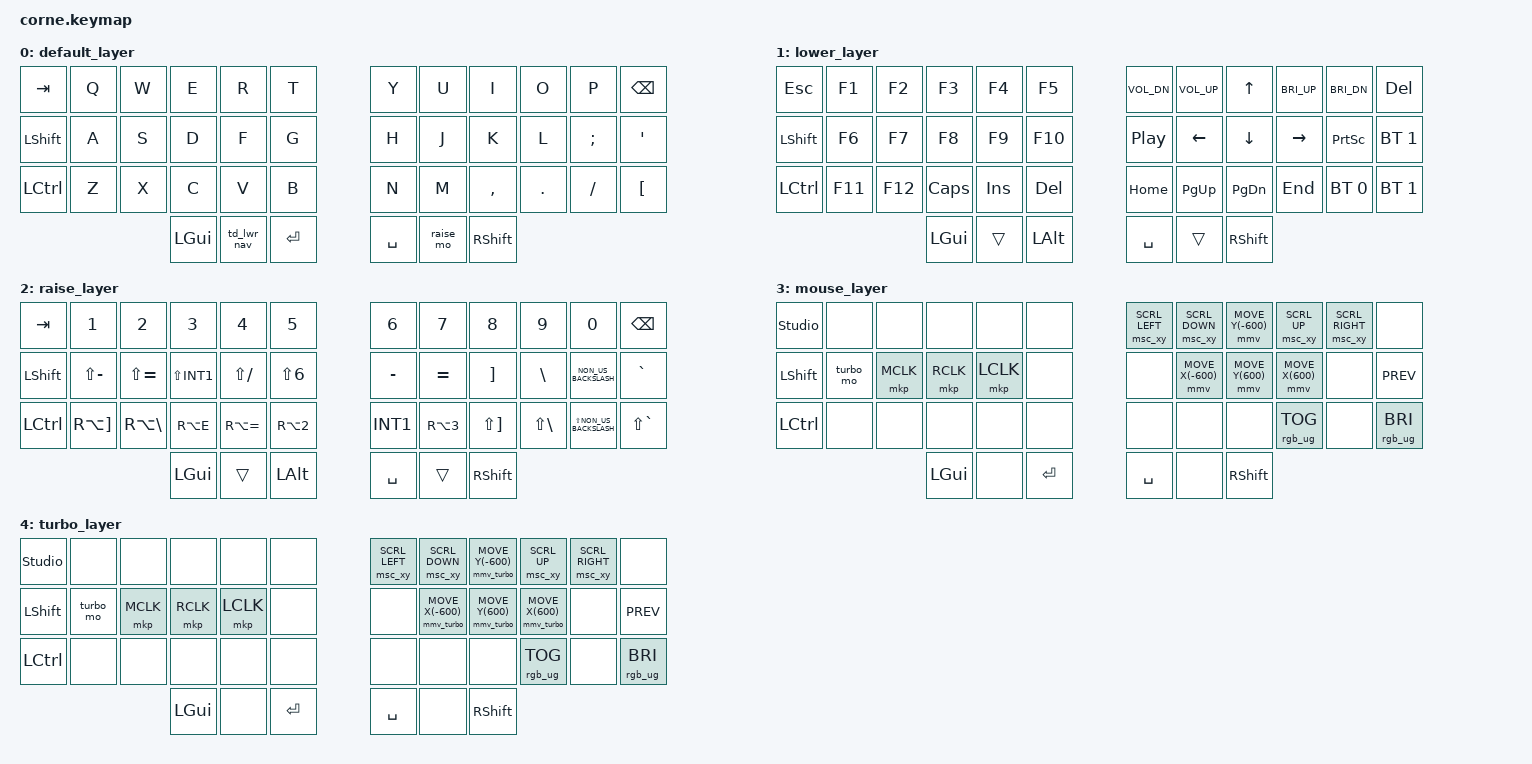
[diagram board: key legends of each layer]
/*
 * Copyright (c) 2020 The ZMK Contributors
 *
 * SPDX-License-Identifier: MIT
 */

#include <behaviors.dtsi>
#include <dt-bindings/zmk/keys.h>
#include <dt-bindings/zmk/bt.h>
#include <dt-bindings/zmk/rgb.h>
#include <dt-bindings/zmk/pointing.h>
/* behaviors.dtsi traz behaviors/mouse_keys.dtsi (&mmv, &msc, mmv_input_listener),
 * mas NAO traz os input processors -- zip_xy_scaler e' declarado em
 * input/processors.dtsi e precisa deste include separado. Sem ele o &zip_xy_scaler
 * la' embaixo referencia um label inexistente e o devicetree nao compila. */
#include <input/processors.dtsi>

&led_strip {
    chain-length = <27>;
};

/* Cursor com inercia: o toque curto anda pouco (precisao pra acertar alvo pequeno)
 * e a velocidade cresce ate' o maximo se a tecla ficar segurada.
 *
 * A rampa so' existe com os DOIS valores diferentes de zero: em
 * behavior_input_two_axis.c:115 a velocidade e' clampada no maximo quando
 * time-to-max-speed-ms == 0 OU acceleration-exponent == 0. A config antiga
 * zerava os dois, dai' o cursor sair em velocidade cheia no primeiro tick.
 *
 * Ajuste fino: subir time-to-max-speed-ms alonga a rampa; expoente 2 (quadratico)
 * deixa o inicio ainda mais lento, pra alvo bem pequeno. 300/1 e' o default do ZMK.
 *
 * 2026-09-02: rampa encurtada de 300ms para 150ms a pedido do Davi -- o toque curto
 * continua andando pouco, mas a velocidade cheia chega na metade do tempo. Se ainda
 * parecer arrastado, o proximo passo e' 100ms; zerar volta ao comportamento antigo
 * (velocidade maxima ja' no primeiro tick, sem precisao nenhuma). */
&mmv {
    time-to-max-speed-ms = <150>;
    acceleration-exponent = <1>;
};

/* Scroll: sai de uma instancia de movimento (&msc_xy, eixos X/Y) convertida em
 * roda pelo zip_xy_to_scroll_mapper. Rampa igual a' do cursor (2026-10-21, a
 * pedido do Davi; antes era instantaneo). Segurar A (camada 4) multiplica por 8
 * inclusive no meio de uma rolagem ja' em curso, com o mesmo zip_xy_scaler do
 * cursor. O caminho direto (override de camada no &msc_input_listener com
 * zip_scroll_scaler) derrubava o boot da esquerda na v0.3, mesmo com pilhas
 * dobradas, sem causa encontrada no codigo: nao voltar a ele. */
/ {
        behaviors {
                msc_xy: msc_xy {
                        compatible = "zmk,behavior-input-two-axis";
                        #binding-cells = <1>;
                        x-input-code = <INPUT_REL_X>;
                        y-input-code = <INPUT_REL_Y>;
                        time-to-max-speed-ms = <150>;
                        acceleration-exponent = <1>;
                };
        };

        msc_xy_listener: msc_xy_listener {
                compatible = "zmk,input-listener";
                device = <&msc_xy>;
                input-processors = <&zip_xy_to_scroll_mapper>;
                turbo {
                        layers = <4>;
                        input-processors = <&zip_xy_scaler 8 1>, <&zip_xy_to_scroll_mapper>;
                };
        };
};


/* Turbo acionado NO MEIO de um movimento ja' em curso: o binding em voo continua
 * sendo o &mmv (o ZMK resolve o binding no press e a camada nao troca o que ja'
 * esta' rodando), entao o boost precisa continuar vindo do input processor. */
&mmv_input_listener {
    turbo {
        layers = <4>;
        input-processors = <&zip_xy_scaler 5 2>;
    };
};

/ {
        /* Instancia separada do movimento, SEM rampa, usada so' pelas teclas da
         * camada 4 (turbo). A rampa e' propriedade da instancia do comportamento,
         * nao da camada, entao turbo e cursor normal precisam de nos diferentes --
         * um input processor multiplica a saida, mas nao desfaz a aceleracao.
         * Listener proprio porque cada zmk,input-listener escuta um unico device;
         * o scaler 5/2 aqui nao precisa de filtro de camada, ja' que este device
         * so' emite quando uma tecla da camada 4 e' pressionada. */
        mmv_turbo_listener: mmv_turbo_listener {
                compatible = "zmk,input-listener";
                device = <&mmv_turbo>;
                input-processors = <&zip_xy_scaler 5 2>;
        };

        behaviors {
                mmv_turbo: mmv_turbo {
                        compatible = "zmk,behavior-input-two-axis";
                        #binding-cells = <1>;
                        x-input-code = <INPUT_REL_X>;
                        y-input-code = <INPUT_REL_Y>;
                        time-to-max-speed-ms = <0>;
                        acceleration-exponent = <0>;
                };

                // Tap-dance no polegar Lower (esquerdo):
                // 1 toque/hold = Lower (L1)
                // 2 toques e SEGURA = Navegação (L3) momentâneo (libera ao soltar o switch)
                td_lwr_nav: td_lwr_nav {
                        compatible = "zmk,behavior-tap-dance";
                        #binding-cells = <0>;
                        tapping-term-ms = <200>;
                        bindings = <&lower_mo>, <&mo 3>;
                };
        };

        macros {
                // Emite F13 ao entrar na lower (layer 1) e F14 ao sair.
                // O overlay escuta esses sinais via evdev para funcionar por BT.
                lower_mo: lower_mo {
                        compatible = "zmk,behavior-macro";
                        #binding-cells = <0>;
                        bindings = <&macro_press &mo 1>
                                 , <&macro_tap &kp F13>
                                 , <&macro_pause_for_release>
                                 , <&macro_release &mo 1>
                                 , <&macro_tap &kp F14>
                                 ;
                };
                raise_mo: raise_mo {
                        compatible = "zmk,behavior-macro";
                        #binding-cells = <0>;
                        bindings = <&macro_press &mo 2>
                                 , <&macro_tap &kp F15>
                                 , <&macro_pause_for_release>
                                 , <&macro_release &mo 2>
                                 , <&macro_tap &kp F16>
                                 ;
                };

                // Turbo momentaneo da tecla A (camadas de mouse), montado
                // com &tog em vez de &mo.
                turbo_mo: turbo_mo {
                        compatible = "zmk,behavior-macro";
                        #binding-cells = <0>;
                        bindings = <&macro_tap &tog 4>
                                 , <&macro_pause_for_release>
                                 , <&macro_tap &tog 4>
                                 ;
                };
        };

        keymap {
                compatible = "zmk,keymap";

                /* As legendas dos diagramas assumem xkb layout "br" (ABNT2) no host:
                 * SEMI=ç  SQT=~^(dead)  LBKT=´`(dead)  RBKT=[{  BSLH=]}
                 * NON_US_BACKSLASH=\|  INT1=/?  FSLH=;:  LS(N6)=¨(dead)
                 * F13-F16 sao reservados pra sinalizacao do overlay (lower_mo/raise_mo). */

                default_layer {
// -----------------------------------------------------------------------------------------
// |  TAB |  Q  |  W  |  E  |  R  |  T  |   |  Y  |  U   |  I  |  O  |  P  | BSPC |
// | SHFT |  A  |  S  |  D  |  F  |  G  |   |  H  |  J   |  K  |  L  |  Ç  | ~ ^  |
// | CTRL |  Z  |  X  |  C  |  V  |  B  |   |  N  |  M   |  ,  |  .  | ; : | ´ `  |
//                    | GUI | LWR | ENT |   | SPC | RSE  | SHFT|
// Acentos como no ABNT2: ~ (shift ^) ao lado do Ç e ´ (shift `) logo abaixo.
// Esc mora na lower (Lower+Tab). Polegar direito e' Shift: AltGr saiu, os
// simbolos de AltGr que importam estao prontos na raise (RA embutido).
// Shift na home row e Ctrl embaixo: era assim que o aparelho estava (edicao antiga
// no Studio, lida no dump de 2026-09-02) e e' o mesmo arranjo das outras camadas.
                        bindings = <
   &kp TAB   &kp Q &kp W &kp E &kp R &kp T   &kp Y &kp U  &kp I     &kp O   &kp P    &kp BSPC
   &kp LSHFT &kp A &kp S &kp D &kp F &kp G   &kp H &kp J  &kp K     &kp L   &kp SEMI &kp SQT
   &kp LCTRL &kp Z &kp X &kp C &kp V &kp B   &kp N &kp M  &kp COMMA &kp DOT &kp FSLH &kp LBKT
                  &kp LGUI &td_lwr_nav &kp RET     &kp SPACE &raise_mo &kp RSHFT
                        >;
                };

                lower_layer {
// -----------------------------------------------------------------------------------------
// |  ESC |  F1 |  F2 |  F3 |  F4 |  F5 |   | VDN | VUP |  UP | SUN+| SUN-| DEL  |
// | SHFT |  F6 |  F7 |  F8 |  F9 | F10 |   | PLAY| LFT | DWN | RGT | PRSC| BT1  |
// | CTRL | F11 | F12 | CAPS| INS | DEL |   | HOME| PGUP| PGDN| END | BT0 | BT1  |
//                    | GUI |     | ALT |   | SPC |     | SHFT|
// As tres teclas &bt vieram do dump do aparelho (2026-09-02): so' existiam na NVS,
// gravadas pelo Studio, e por isso nunca estiveram neste arquivo. Repare que duas
// delas selecionam o MESMO perfil (BT_SEL 1) -- preservado como estava; se foi
// engano, o candidato natural para a de cima e' &bt BT_CLR ou outro perfil.
                        bindings = <
   &kp ESC    &kp F1  &kp F2  &kp F3  &kp F4  &kp F5    &kp C_VOL_DN  &kp C_VOL_UP  &kp UP    &kp C_BRI_UP  &kp C_BRI_DN  &kp DEL
   &kp LSHFT  &kp F6  &kp F7  &kp F8  &kp F9  &kp F10   &kp C_PP      &kp LEFT      &kp DOWN  &kp RIGHT     &kp PRINTSCREEN &bt BT_SEL 1
   &kp LCTRL  &kp F11 &kp F12 &kp CAPS &kp INS &kp DEL   &kp HOME      &kp PG_UP     &kp PG_DN &kp END       &bt BT_SEL 0  &bt BT_SEL 1
                              &kp LGUI &trans &kp LALT  &kp SPACE     &trans        &kp RSHFT
                        >;
                };

                raise_layer {
// -----------------------------------------------------------------------------------------
// |  TAB |  1  |  2  |  3  |  4  |  5  |   |  6  |  7  |  8  |  9  |  0  | BSPC |
// | SHFT |  _  |  +  |  ?  |  :  |  ¨  |   |  -  |  =  |  [  |  ]  |  \  |  '   |
// | CTRL |  ª  |  º  |  °  |  §  |  ²  |   |  /  |  ³  |  {  |  }  |  |  |  "   |
//                    | GUI |     | ALT |   | SPC |     | SHFT|
// ! @ # $ % & * ( ) saem no shift dos numeros, como num teclado normal.
// ª º ° § ² ³ levam AltGr (RA) embutido: no xkb br sao o 3o nivel de [ ] E = 2 3.
                        bindings = <
   &kp TAB    &kp N1        &kp N2        &kp N3       &kp N4       &kp N5      &kp N6     &kp N7     &kp N8        &kp N9        &kp N0                   &kp BSPC
   &kp LSHFT  &kp LS(MINUS) &kp LS(EQUAL) &kp LS(INT1) &kp LS(FSLH) &kp LS(N6)  &kp MINUS  &kp EQUAL  &kp RBKT      &kp BSLH      &kp NON_US_BACKSLASH     &kp GRAVE
   &kp LCTRL  &kp RA(RBKT)  &kp RA(BSLH)  &kp RA(E)    &kp RA(EQUAL) &kp RA(N2) &kp INT1   &kp RA(N3) &kp LS(RBKT)  &kp LS(BSLH)  &kp LS(NON_US_BACKSLASH) &kp LS(GRAVE)
                              &kp LGUI &trans &kp LALT  &kp SPACE  &trans     &kp RSHFT
                        >;
                };

        mouse_layer {
                // -----------------------------------------------------------------------------------------
                // | UNLOK| NONE| NONE| NONE| NONE| NONE|   | SCRL| SCRL|  UP | SCRL| SCRL| NONE |
                // | SHFT | TURB| MID | RGHT| LEFT| NONE|   | NONE| LFT | DWN | RGT | NONE| PREV |
                // | CTRL | NONE| NONE| NONE| NONE| NONE|   | NONE| NONE| NONE| RGB | NONE| BRI  |
                // Sem teclas &ext_power: CONFIG_ZMK_EXT_POWER=n (teste de 2026-09-02, as
                // duas polaridades de P0.13 derrubam o VCC neste clone -- ver corne.conf).
                //                    | GUI | NONE| ENT |   | SPC | NONE| SHFT |
                //
                // Ativação Lower: 1 toque/hold no polegar Lower = L1.
                // Ativação Navegação: 2 toques e SEGURA no polegar Lower = L3 (momentâneo, libera ao soltar).
                // Tecla A = turbo 2.5x (segurar).
                // Teclas I/K/J/L = movimento com inercia (&mmv, rampa de 150ms).
                // Teclas U/O = scroll suave com rampa de 150ms (&msc); turbo acelera 2.5x.
                // Teclas GUI, Space, Ctrl, Alt e Enter disponíveis diretamente no modo mouse.
                                bindings = <
                &studio_unlock &none     &none    &none    &none    &none    &msc_xy SCRL_LEFT &msc_xy SCRL_DOWN &mmv MOVE_Y(-600) &msc_xy SCRL_UP &msc_xy SCRL_RIGHT &none
                &kp LSHFT      &turbo_mo &mkp MCLK &mkp RCLK &mkp LCLK &none    &none           &mmv MOVE_X(-600) &mmv MOVE_Y(600)  &mmv MOVE_X(600) &none           &kp C_PREV
                &kp LCTRL      &none     &none    &none    &none    &none    &none           &none           &none             &rgb_ug RGB_TOG &none           &rgb_ug RGB_BRI
                                             &kp LGUI &none    &kp RET  &kp SPACE       &none           &kp RSHFT
                                >;
                };

                turbo_layer {
                // -----------------------------------------------------------------------------------------
                // Bindings identicos aos da camada 3.
                // | UNLOK| NONE| NONE| NONE| NONE| NONE|   | SCRL| SCRL|  UP | SCRL| SCRL| NONE |
                // | SHFT | TURB| MID | RGHT| LEFT| NONE|   | NONE| LFT | DWN | RGT | NONE| PREV |
                // | CTRL | NONE| NONE| NONE| NONE| NONE|   | NONE| NONE| NONE| RGB | NONE| BRI  |
                // Sem teclas &ext_power: CONFIG_ZMK_EXT_POWER=n (teste de 2026-09-02, as
                // duas polaridades de P0.13 derrubam o VCC neste clone -- ver corne.conf).
                //                    | GUI | NONE| ENT |   | SPC | NONE| SHFT |
                // Movimento aqui usa &mmv_turbo (sem rampa): entrar no turbo e SO'
                // ENTAO mover da' velocidade cheia no primeiro tick, sem a inercia
                // que a camada 3 tem. O scroll continua no &msc, ja' instantaneo.
                                bindings = <
                &studio_unlock &none     &none    &none    &none    &none    &msc_xy SCRL_LEFT &msc_xy SCRL_DOWN &mmv_turbo MOVE_Y(-600) &msc_xy SCRL_UP &msc_xy SCRL_RIGHT &none
                &kp LSHFT      &turbo_mo &mkp MCLK &mkp RCLK &mkp LCLK &none    &none           &mmv_turbo MOVE_X(-600) &mmv_turbo MOVE_Y(600) &mmv_turbo MOVE_X(600) &none &kp C_PREV
                &kp LCTRL      &none     &none    &none    &none    &none    &none           &none           &none             &rgb_ug RGB_TOG &none           &rgb_ug RGB_BRI
                                             &kp LGUI &none    &kp RET  &kp SPACE       &none           &kp RSHFT
                                >;
                };
        };
};
